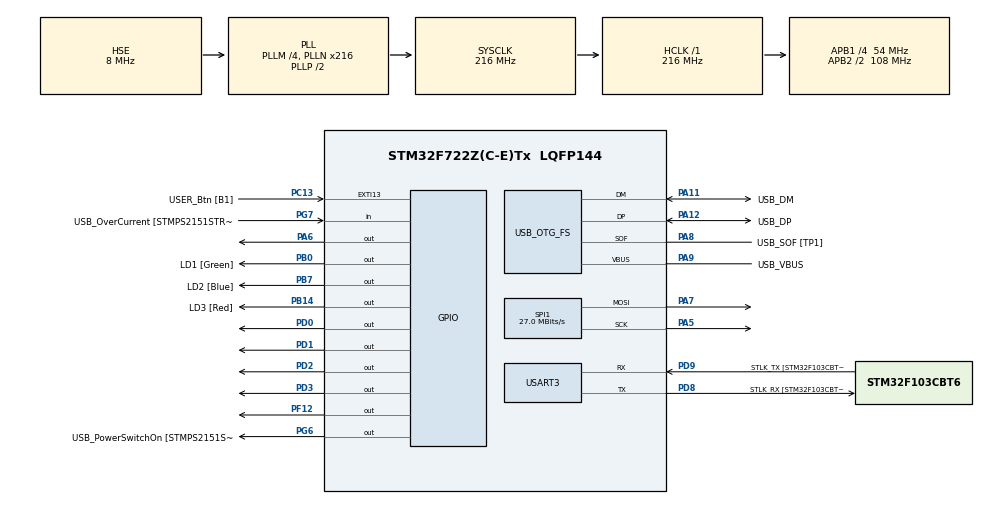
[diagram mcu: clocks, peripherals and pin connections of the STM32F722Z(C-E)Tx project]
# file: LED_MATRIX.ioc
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Dma.Request0=SPI1_TX
Dma.SPI1_TX.0.Direction=DMA_MEMORY_TO_PERIPH
Dma.SPI1_TX.0.FIFOMode=DMA_FIFOMODE_DISABLE
Dma.SPI1_TX.0.Instance=DMA2_Stream3
Dma.SPI1_TX.0.MemDataAlignment=DMA_MDATAALIGN_BYTE
Dma.SPI1_TX.0.MemInc=DMA_MINC_ENABLE
Dma.SPI1_TX.0.Mode=DMA_NORMAL
Dma.SPI1_TX.0.PeriphDataAlignment=DMA_PDATAALIGN_BYTE
Dma.SPI1_TX.0.PeriphInc=DMA_PINC_DISABLE
Dma.SPI1_TX.0.Priority=DMA_PRIORITY_LOW
Mcu.Family=STM32F7
Mcu.Name=STM32F722Z(C-E)Tx
Mcu.Package=LQFP144
NVIC.DMA2_Stream3_IRQn=true\:0\:0\:false\:true\:true\:1\:false\:true\:true
NVIC.PriorityGroup=NVIC_PRIORITYGROUP_4
NVIC.SPI1_IRQn=true\:0\:0\:false\:true\:true\:2\:true\:true\:true
NVIC.TIM1_UP_TIM10_IRQn=true\:0\:0\:false\:true\:true\:3\:true\:true\:true
PA10.GPIO_Label=USB_ID
PA10.Signal=USB_OTG_FS_ID
PA11.GPIO_Label=USB_DM
PA11.Mode=Device_Only
PA11.Signal=USB_OTG_FS_DM
PA12.GPIO_Label=USB_DP
PA12.Mode=Device_Only
PA12.Signal=USB_OTG_FS_DP
PA13.GPIO_Label=TMS
PA13.Mode=Serial_Wire
PA13.Signal=SYS_JTMS-SWDIO
PA14.GPIO_Label=TCK
PA14.Mode=Serial_Wire
PA14.Signal=SYS_JTCK-SWCLK
PA5.Mode=TX_Only_Simplex_Unidirect_Master
PA5.Signal=SPI1_SCK
PA6.Signal=GPIO_Output
PA7.Mode=TX_Only_Simplex_Unidirect_Master
PA7.Signal=SPI1_MOSI
PA8.GPIO_Label=USB_SOF [TP1]
PA8.Mode=Activate_SOF_FS
PA8.Signal=USB_OTG_FS_SOF
PA9.GPIO_Label=USB_VBUS
PA9.Mode=Activate_VBUS
PA9.Signal=USB_OTG_FS_VBUS
PB0.GPIO_Label=LD1 [Green]
PB0.Signal=GPIO_Output
PB14.GPIO_Label=LD3 [Red]
PB14.Signal=GPIO_Output
PB3.GPIO_Label=SWO
PB3.Signal=SYS_JTDO-SWO
PB7.GPIO_Label=LD2 [Blue]
PB7.Signal=GPIO_Output
PC13.GPIO_Label=USER_Btn [B1]
PC13.Signal=GPXTI13
PC14-OSC32_IN.Mode=LSE-External-Oscillator
PC14-OSC32_IN.Signal=RCC_OSC32_IN
PC15-OSC32_OUT.Mode=LSE-External-Oscillator
PC15-OSC32_OUT.Signal=RCC_OSC32_OUT
PD0.Signal=GPIO_Output
PD1.Signal=GPIO_Output
PD2.Signal=GPIO_Output
PD3.Signal=GPIO_Output
PD8.GPIO_Label=STLK_RX [STM32F103CBT6_PA3]
PD8.Mode=Asynchronous
PD8.Signal=USART3_TX
PD9.GPIO_Label=STLK_TX [STM32F103CBT6_PA2]
PD9.Mode=Asynchronous
PD9.Signal=USART3_RX
PF12.Signal=GPIO_Output
PG6.GPIO_Label=USB_PowerSwitchOn [STMPS2151STR_EN]
PG6.Signal=GPIO_Output
PG7.GPIO_Label=USB_OverCurrent [STMPS2151STR_FAULT]
PG7.Signal=GPIO_Input
PH0-OSC_IN.GPIO_Label=MCO
PH0-OSC_IN.Mode=HSE-External-Clock-Source
PH0-OSC_IN.Signal=RCC_OSC_IN
PH1-OSC_OUT.Mode=HSE-External-Clock-Source
PH1-OSC_OUT.Signal=RCC_OSC_OUT
ProjectManager.HeapSize=0x200
ProjectManager.StackSize=0x400
ProjectManager.TargetToolchain=STM32CubeIDE
RCC.48MHZClocksFreq_Value=24000000
RCC.AHBFreq_Value=216000000
RCC.APB1CLKDivider=RCC_HCLK_DIV4
RCC.APB1Freq_Value=54000000
RCC.APB1TimFreq_Value=108000000
RCC.APB2CLKDivider=RCC_HCLK_DIV2
RCC.APB2Freq_Value=108000000
RCC.APB2TimFreq_Value=216000000
RCC.CortexFreq_Value=216000000
RCC.HCLKFreq_Value=216000000
RCC.HSE_VALUE=8000000
RCC.HSI_VALUE=16000000
RCC.PLLM=4
RCC.PLLMUL=RCC_PLL_MUL9
RCC.PLLN=216
RCC.PLLQ=9
RCC.PRESCALERUSB=RCC_USBCLKSOURCE_PLL_DIV1_5
RCC.SYSCLKFreq_VALUE=216000000
RCC.SYSCLKSource=RCC_SYSCLKSOURCE_PLLCLK
RCC.SYSCLKSourceVirtual=RCC_SYSCLKSOURCE_PLLCLK
RCC.USBFreq_Value=48000000
RCC.VCOOutputFreq_Value=432000000
SPI1.BaudRatePrescaler=SPI_BAUDRATEPRESCALER_4
SPI1.CalculateBaudRate=27.0 MBits/s
SPI1.DataSize=SPI_DATASIZE_8BIT
SPI1.Direction=SPI_DIRECTION_2LINES
SPI1.FirstBit=SPI_FIRSTBIT_LSB
SPI1.Mode=SPI_MODE_MASTER
SPI1.NSSPMode=SPI_NSS_PULSE_ENABLE
SPI1.VirtualType=VM_MASTER
TIM1.Period=999
TIM1.Prescaler=215
USART3.VirtualMode-Asynchronous=VM_ASYNC
USB_OTG_FS.VirtualMode=Device_Only
VP_TIM1_VS_ClockSourceINT.Mode=Internal
board=NUCLEO-F722ZE

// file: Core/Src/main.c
/* USER CODE BEGIN Header */
/**
  ******************************************************************************
  * @file           : main.c
  * @brief          : Main program body
  ******************************************************************************
  * @attention
  *
  * Copyright (c) 2022 STMicroelectronics.
  * All rights reserved.
  *
  * This software is licensed under terms that can be found in the LICENSE file
  * in the root directory of this software component.
  * If no LICENSE file comes with this software, it is provided AS-IS.
  *
  ******************************************************************************
  */
/* USER CODE END Header */
#include "main.h"
#include "dma.h"
#include "spi.h"
#include "tim.h"
#include "usart.h"
#include "usb_otg.h"
#include "gpio.h"

/* USER CODE BEGIN Includes */
#include "obraz.c"
#include "panel.h"
/* USER CODE END Includes */

/* USER CODE BEGIN PV */

uint8_t flaga=0;

uint8_t bufor[6][4][768];
uint8_t bufferSPI[4][48];

uint8_t przejsciowy[6][6144];

uint8_t pole=0;

/* USER CODE END PV */

void SystemClock_Config(void);
static void MX_NVIC_Init(void);
/* USER CODE BEGIN PFP */
void PANEL (uint8_t surface, uint8_t scena);

/* USER CODE END PFP */

int main(void)
{

  /* MCU Configuration--------------------------------------------------------*/

  /* Reset of all peripherals, Initializes the Flash interface and the Systick. */
  HAL_Init();

  /* Configure the system clock */
  SystemClock_Config();

  /* Initialize all configured peripherals */
  MX_GPIO_Init();
  MX_USART3_UART_Init();
  MX_USB_OTG_FS_PCD_Init();
  MX_SPI1_Init();
  MX_DMA_Init();
  MX_TIM1_Init();

  /* Initialize interrupts */
  MX_NVIC_Init();
  /* USER CODE BEGIN 2 */
  HAL_TIM_Base_Start_IT(&htim1);

  //    PINOUT
  //    SIN R1 -- G1
  //  	  B1 -- GND
  //  	  R2 -- G2
  //  	  B2 -- GND
  //  	   A -- B
  //  	   C -- D
  //  	 CLK -- LAT
  //  	  OE -- GND

  //przejsciowy[0][6144] = sonic[18432];

  for (int g=0,d=48; g<18432; g+=576,d+=192)
  {
	  for (int f=0,k=0; f<6; f++,k+=96)
	  	  {
	  		  for (int z=0; z<96; z++)
	  		  {
	  			  przejsciowy[f][z+d] = sonic[z+k+g];
	  		  }
	  	  }
  }

for (int scena=0; scena<6; scena++)
{
  for (int k=0; k<4; k++) 				//4 przejścia dla 4 najbardziej znaczących bitów
  {
  	for (int m=0; m<32; m++) 			//mam 32 linie do przepisania
  	{
  		for (int p=0; p<3; p++)			//tu robimy to samo dla trzech kolorów osobno R G B
  	  	{
  			for (int n=0; n<8; n++) 	//tym zapisuję do bufora dane do pierwszej linii dla pajważniejszych pixeli bo (1<<7)
  	  		{
  	  			bufor[scena][k][p*8 + n + m*24] =  	(( przejsciowy[scena] [p + 3*8*n + 192*m + 3*0]  &  (1<<(7-k)) )<< k) >>(0) |
  									 	 			(( przejsciowy[scena] [p + 3*8*n + 192*m + 3*1]  &  (1<<(7-k)) )<< k) >>(1) |
													(( przejsciowy[scena] [p + 3*8*n + 192*m + 3*2]  &  (1<<(7-k)) )<< k) >>(2) |
													(( przejsciowy[scena] [p + 3*8*n + 192*m + 3*3]  &  (1<<(7-k)) )<< k) >>(3) |
													(( przejsciowy[scena] [p + 3*8*n + 192*m + 3*4]  &  (1<<(7-k)) )<< k) >>(4) |
													(( przejsciowy[scena] [p + 3*8*n + 192*m + 3*5]  &  (1<<(7-k)) )<< k) >>(5) |
													(( przejsciowy[scena] [p + 3*8*n + 192*m + 3*6]  &  (1<<(7-k)) )<< k) >>(6) |
													(( przejsciowy[scena] [p + 3*8*n + 192*m + 3*7]  &  (1<<(7-k)) )<< k) >>(7) ;
  	  		}
  	  	}
  	}
  }
 }

  void PANEL (uint8_t surface, uint8_t scena)
  	{

  		  for (int32_t i=0; i<16; i++)		// 'i' mean ROW to send for all picture
  			  {

  			  for (int32_t j=0; j<8; j++)	//'j' mean BYTES to sent in each ROW - lower and upper in one time
  			  {
  				  //for upper part picture
  				bufferSPI[surface][ 0+j] = bufor[scena][surface][(i+ 0)*24 + 16 + (7-j)];	//line R
  				bufferSPI[surface][16+j] = bufor[scena][surface][(i+ 0)*24 +  8 + (7-j)];	//line G
  				bufferSPI[surface][32+j] = bufor[scena][surface][(i+ 0)*24 +  0 + (7-j)];	//line B

  				  //for lower part picture
  				bufferSPI[surface][ 8+j] = bufor[scena][surface][(i+16)*24 + 16 + (7-j)];	//line R
  				bufferSPI[surface][24+j] = bufor[scena][surface][(i+16)*24 +  8 + (7-j)];	//line G
  				bufferSPI[surface][40+j] = bufor[scena][surface][(i+16)*24 +  0 + (7-j)];	//line B
  			  }

  			  HAL_SPI_Transmit(&hspi1, bufferSPI[surface], 48,2); //dla funkcji blokującej potrzeba minimum 2 ms aby wysłać ramkę
  			   //HAL_SPI_Transmit_DMA(&hspi1, Bufor[surface], 48); //z dma trzeba popracować nad wywołaniem funkcji od przerwania dma po zakończeniu transmisji

  			  HAL_GPIO_WritePin(GPIOF, GPIO_PIN_12,1); // OE  - 0 włączanie zasilania ledów - np do sterowania poziomem jasności
  			  HAL_GPIO_WritePin(GPIOA, GPIO_PIN_6, 0); // LAT - 1 PRZERUTNIK  dane z rejestru na ledy //sprawdzic czy oby na pewno 1
  			  HAL_GPIO_WritePin(GPIOA, GPIO_PIN_6, 1); // LAT - 1 PRZERUTNIK  dane z rejestru na ledy //sprawdzic czy oby na pewno 1
  			  HAL_GPIO_WritePin(GPIOA, GPIO_PIN_6, 0); // LAT - 1 PRZERUTNIK  dane z rejestru na ledy //sprawdzic czy oby na pewno 1

  			  GPIOD->ODR = (15-i); //wykorzystanie bitów 0,1,2,3 portu GPIOD aby zmniejeszyć czasy wykonania przełączania linii

  			  HAL_GPIO_WritePin(GPIOF, GPIO_PIN_12,0); // OE  - 0 włączanie zasilania ledów - np do sterowania poziomem jasności
  			  }
  }

  uint32_t czas = HAL_GetTick();
  uint32_t a=0;

  /* USER CODE END 2 */

  /* Infinite loop */
  /* USER CODE BEGIN WHILE */
  while (1)
  {

	 PANEL (0,a);
	 PANEL (0,a);
	 PANEL (1,a);
	 PANEL (0,a);

	 PANEL (2,a);

	 PANEL (0,a);
	 PANEL (1,a);
	 PANEL (0,a);

	 PANEL (3,a);

	 PANEL (0,a);
	 PANEL (1,a);
	 PANEL (0,a);
	 PANEL (0,a);

	 PANEL (2,a);

	 PANEL (1,a);
	 PANEL (0,a);
	 PANEL (0,a);
	 PANEL (1,a);

	   if ((HAL_GetTick() - czas) > 70)
	   {
		   czas = HAL_GetTick();
		   if(a>=5){a=0;}

		   a++;
	   }

    /* USER CODE END WHILE */

  }
}

void SystemClock_Config(void)
{
  RCC_OscInitTypeDef RCC_OscInitStruct = {0};
  RCC_ClkInitTypeDef RCC_ClkInitStruct = {0};

  /** Configure LSE Drive Capability
  */
  HAL_PWR_EnableBkUpAccess();

  /** Configure the main internal regulator output voltage
  */
  __HAL_RCC_PWR_CLK_ENABLE();
  __HAL_PWR_VOLTAGESCALING_CONFIG(PWR_REGULATOR_VOLTAGE_SCALE1);

  /** Initializes the RCC Oscillators according to the specified parameters
  * in the RCC_OscInitTypeDef structure.
  */
  RCC_OscInitStruct.OscillatorType = RCC_OSCILLATORTYPE_HSE;
  RCC_OscInitStruct.HSEState = RCC_HSE_BYPASS;
  RCC_OscInitStruct.PLL.PLLState = RCC_PLL_ON;
  RCC_OscInitStruct.PLL.PLLSource = RCC_PLLSOURCE_HSE;
  RCC_OscInitStruct.PLL.PLLM = 4;
  RCC_OscInitStruct.PLL.PLLN = 216;
  RCC_OscInitStruct.PLL.PLLP = RCC_PLLP_DIV2;
  RCC_OscInitStruct.PLL.PLLQ = 9;
  if (HAL_RCC_OscConfig(&RCC_OscInitStruct) != HAL_OK)
  {
    Error_Handler();
  }

  /** Activate the Over-Drive mode
  */
  if (HAL_PWREx_EnableOverDrive() != HAL_OK)
  {
    Error_Handler();
  }

  /** Initializes the CPU, AHB and APB buses clocks
  */
  RCC_ClkInitStruct.ClockType = RCC_CLOCKTYPE_HCLK|RCC_CLOCKTYPE_SYSCLK
                              |RCC_CLOCKTYPE_PCLK1|RCC_CLOCKTYPE_PCLK2;
  RCC_ClkInitStruct.SYSCLKSource = RCC_SYSCLKSOURCE_PLLCLK;
  RCC_ClkInitStruct.AHBCLKDivider = RCC_SYSCLK_DIV1;
  RCC_ClkInitStruct.APB1CLKDivider = RCC_HCLK_DIV4;
  RCC_ClkInitStruct.APB2CLKDivider = RCC_HCLK_DIV2;

  if (HAL_RCC_ClockConfig(&RCC_ClkInitStruct, FLASH_LATENCY_7) != HAL_OK)
  {
    Error_Handler();
  }
}

/**
  * @brief NVIC Configuration.
  * @retval None
  */
static void MX_NVIC_Init(void)
{
  /* DMA2_Stream3_IRQn interrupt configuration */
  HAL_NVIC_SetPriority(DMA2_Stream3_IRQn, 0, 0);
  HAL_NVIC_EnableIRQ(DMA2_Stream3_IRQn);
  /* SPI1_IRQn interrupt configuration */
  HAL_NVIC_SetPriority(SPI1_IRQn, 0, 0);
  HAL_NVIC_EnableIRQ(SPI1_IRQn);
  /* TIM1_UP_TIM10_IRQn interrupt configuration */
  HAL_NVIC_SetPriority(TIM1_UP_TIM10_IRQn, 0, 0);
  HAL_NVIC_EnableIRQ(TIM1_UP_TIM10_IRQn);
}

/* USER CODE BEGIN 4 */

void HAL_TIM_PeriodElapsedCallback(TIM_HandleTypeDef *htim)
{
	HAL_GPIO_TogglePin(LD2_GPIO_Port, LD2_Pin);
	if (flaga > 15) {flaga=1;}
	else flaga++;
}

/* USER CODE END 4 */

void Error_Handler(void)
{
  __disable_irq();
  while (1)
  {
  }
}
